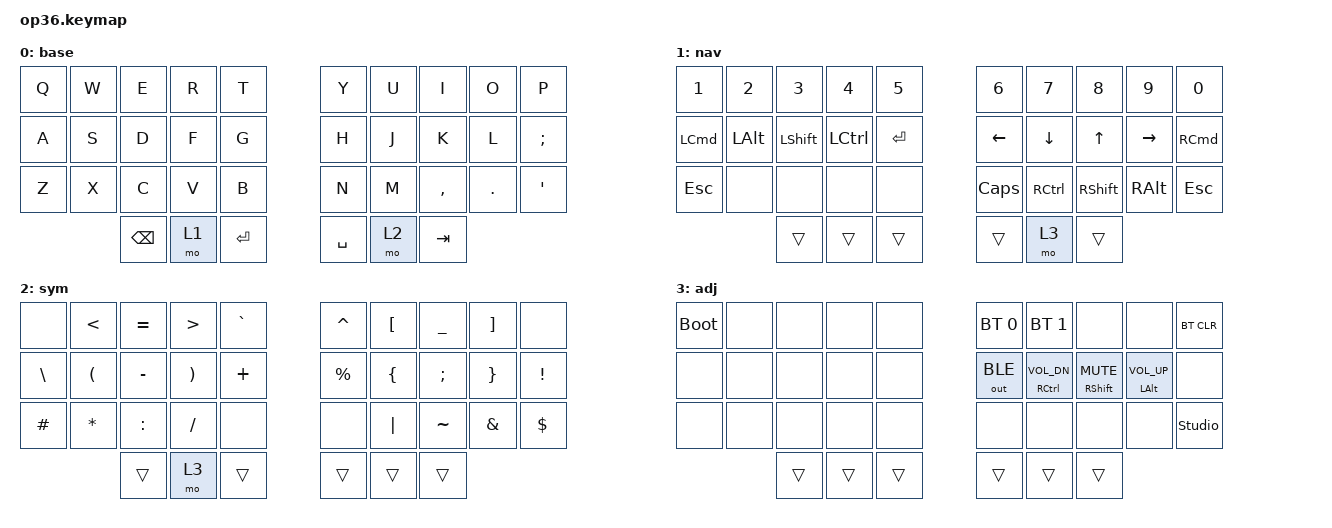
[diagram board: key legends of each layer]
#include "keys_ru.h"
#include <behaviors.dtsi>
#include <dt-bindings/zmk/bt.h>
#include <dt-bindings/zmk/keys.h>
#include <dt-bindings/zmk/outputs.h>

&mt {
    quick-tap-ms = <200>;
    flavor = "tap-preferred";
    require-prior-idle-ms = <125>;
};

/ {
    behaviors {
        hml: home_row_mod_left {
            compatible = "zmk,behavior-hold-tap";
            #binding-cells = <2>;
            flavor = "balanced";
            require-prior-idle-ms = <150>;
            tapping-term-ms = <180>;
            quick-tap-ms = <170>;
            bindings = <&kp>, <&kp>;

            hold-trigger-key-positions = <5 6 7 8 9 15 16 17 18 19 25 26 27 28 29 33 34 35>;
            hold-trigger-on-release;
        };

        hmr: home_row_mod_right {
            compatible = "zmk,behavior-hold-tap";
            #binding-cells = <2>;
            flavor = "balanced";
            require-prior-idle-ms = <150>;
            tapping-term-ms = <180>;
            quick-tap-ms = <170>;
            bindings = <&kp>, <&kp>;

            hold-trigger-key-positions = <0 1 2 3 4 10 11 12 13 14 20 21 22 23 24 30 31 32>;
            hold-trigger-on-release;
        };
    };

    combos {
        compatible = "zmk,combos";

        kha {
            bindings = <&kp LBKT>;
            key-positions = <6 7>;
        };

        hrdsgn {
            bindings = <&kp RBKT>;
            key-positions = <7 8>;
        };
    };

    keymap {
        compatible = "zmk,keymap";

        base {
            bindings = <
  &kp Q  &kp W  &kp E  &kp R          &kp T                          &kp Y  &kp U    &kp I      &kp O    &kp P
  &kp A  &kp S  &kp D  &kp F          &kp G                          &kp H  &kp J    &kp K      &kp L    &kp SEMI
  &kp Z  &kp X  &kp C  &kp V          &kp B                          &kp N  &kp M    &kp COMMA  &kp DOT  &kp SQT
                       &kp BACKSPACE  &mo 1  &kp ENTER    &kp SPACE  &mo 2  &kp TAB
            >;
        };

        nav {
            bindings = <
  &kp N1            &kp N2    &kp N3     &kp N4     &kp N5                       &kp N6          &kp N7          &kp N8           &kp N9           &kp N0
  &kp LEFT_COMMAND  &kp LALT  &kp LSHFT  &kp LCTRL  &kp ENTER                    &kp LEFT_ARROW  &kp DOWN_ARROW  &kp UP_ARROW     &kp RIGHT_ARROW  &kp RIGHT_COMMAND
  &kp ESC           &none     &none      &none      &none                        &kp CAPS        &kp RCTRL       &kp RIGHT_SHIFT  &kp RIGHT_ALT    &kp ESC
                                         &trans     &trans     &trans    &trans  &mo 3           &trans
            >;
        };

        sym {
            bindings = <
  &none          &kp LT                &kp EQUAL  &kp GT                 &kp GRAVE                    &kp CARET  &kp LBKT        &kp UNDER  &kp RBKT         &none
  &kp BACKSLASH  &kp LEFT_PARENTHESIS  &kp MINUS  &kp RIGHT_PARENTHESIS  &kp PLUS                     &kp PRCNT  &kp LEFT_BRACE  &kp SEMI   &kp RIGHT_BRACE  &kp EXCL
  &kp HASH       &kp STAR              &kp COLON  &kp FSLH               &none                        &none      &kp PIPE        &kp TILDE  &kp AMPS         &kp DLLR
                                                  &trans                 &mo 3      &trans    &trans  &trans     &trans
            >;
        };

        adj {
            bindings = <
  &bootloader  &none  &none  &none   &none                     &bt BT_SEL 0  &bt BT_SEL 1         &none              &none               &bt BT_CLR
  &none        &none  &none  &none   &none                     &out OUT_BLE  &hmr RCTRL C_VOL_DN  &hmr RSHFT C_MUTE  &hmr LALT C_VOL_UP  &none
  &none        &none  &none  &none   &none                     &none         &none                &none              &none               &studio_unlock
                             &trans  &trans  &trans    &trans  &trans        &trans
            >;
        };
    };
};
